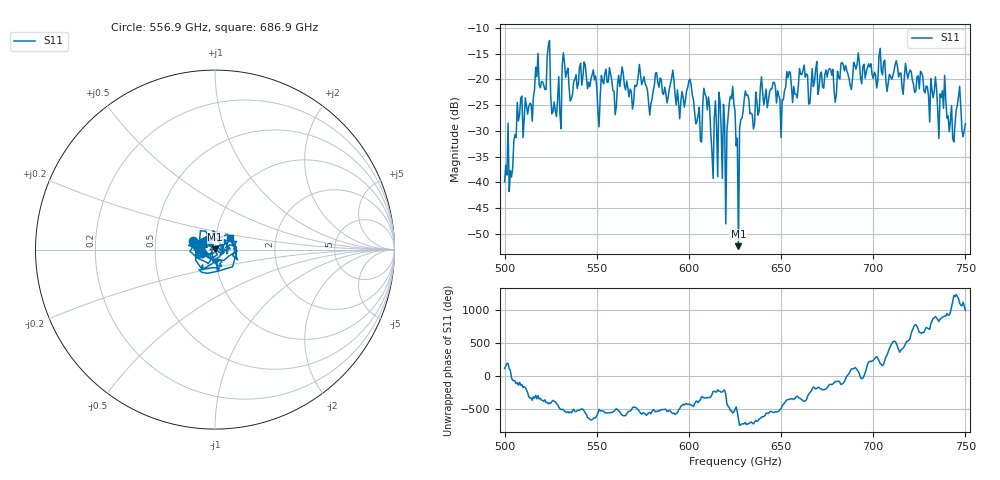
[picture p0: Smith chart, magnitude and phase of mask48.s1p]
!Created with skrf (http://scikit-rf.org).
# GHz S MA R 50.0
!freq magS11 angS11
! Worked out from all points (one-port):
!   401 points, 500 GHz to 750 GHz, reference 50 ohm
!   lowest |S11| = -52.4 dB at 626.9 GHz (marker M1), VSWR 1.00, Z = 50.1 + j0.218 ohm
!   |S11| at or under -10 dB: start of sweep to end of sweep
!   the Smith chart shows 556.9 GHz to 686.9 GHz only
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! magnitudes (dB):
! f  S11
! 500 GHz  -39.9
! 503.8 GHz  -39.0
! 508.1 GHz  -26.9
! 513.8 GHz  -24.6
! 517.5 GHz  -19.5
! 523.8 GHz  -13.3
! 526.9 GHz  -24.4
! 531.2 GHz  -17.3
! 562.5 GHz  -21.4
! 593.8 GHz  -22.0
! 600.6 GHz  -20.0
! 605.6 GHz  -25.4
! 609.4 GHz  -23.4
! 612.5 GHz  -34.1
! 617.5 GHz  -29.8
! 618.8 GHz  -24.8
! 622.5 GHz  -23.2
! 625 GHz  -26.1
! 626.9 GHz  -52.4
! 631.2 GHz  -23.1
! 634.4 GHz  -26.8
! 656.2 GHz  -24.5
! 687.5 GHz  -21.2
! 718.8 GHz  -19.8
! 738.1 GHz  -25.6
! 742.5 GHz  -25.1
! 746.2 GHz  -23.4
! 750 GHz  -28.6
